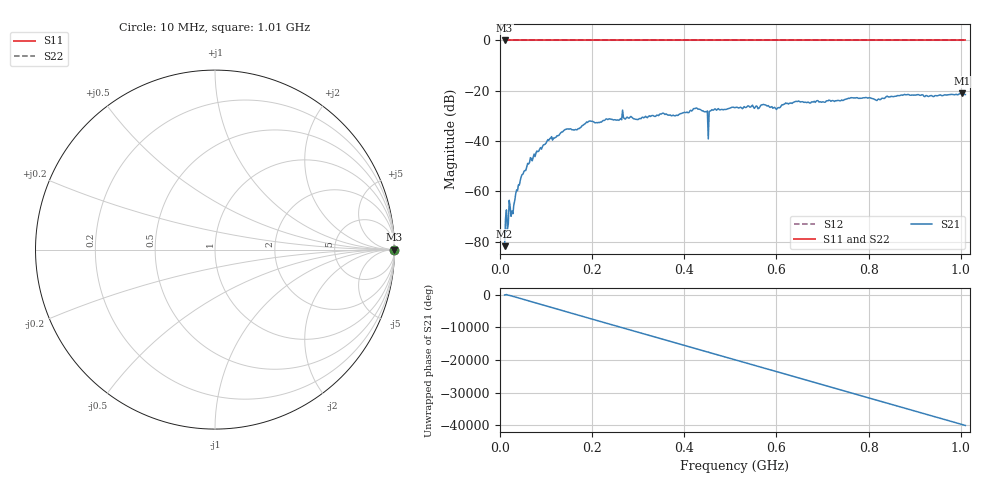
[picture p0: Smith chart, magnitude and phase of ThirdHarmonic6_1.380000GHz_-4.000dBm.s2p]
! 8/16/2025 3:40:23 PM
! C:\ANRITSUVNA\TEMP\TEMP.S2P
! CHANNEL.1
! TR.MEASUREMENT
! RAW.DATA
! RF.CORRECTION.OFF
! AVERAGING.OFF
! IF.BANDWIDTH: 5KHZ
! SWEEPTYPE:  FREQ.SWEEP(Linear)
! Reference Plane Port Info
! PORT:  PORT1  PORT2
! DISTANCE:  0  m  0  m
! TIME:  0  s  0  s
! PHASE.OFFSET:  0  deg.  0  deg.
! LOSS:  0  dB  0  dB
! REF.LOSS:  0  dB  0  dB
! REF.FREQ:  0  Hz  0  Hz
! Power Info
! POWER:  -20  dBm  -20  dBm
! EFF.POWER:  -20  dBm  -20  dBm
! SOURCE.ATTEN:  0  dB  0  dB
! TEST.ATTEN:  0  dB  0  dB
# GHZ S RI R 50.0
! FREQ.GHZ  S11RE  S11IM  S21RE  S21IM  S12RE  S12IM  S22RE  S22IM
!; PortSelection: Port_12
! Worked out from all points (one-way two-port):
!   501 points, 10 MHz to 1.01 GHz, reference 50 ohm
!   highest |S21| = -21.00 dB at 1.002 GHz (marker M1); lowest = -81.8 dB at 10 MHz (marker M2)
!   lowest |S11| = 0.0 dB at 10 MHz (marker M3)
!   |S11| at or under -10 dB: nowhere
!   |S22| runs from 0.0 to 0.0 dB; largest |S21 - S12| = 1.1
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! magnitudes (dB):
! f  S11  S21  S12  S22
! 10 MHz  0.0  -81.8  0.0  0.0
! 14 MHz  0.0  -67.4  0.0  0.0
! 16 MHz  0.0  -75.2  0.0  0.0
! 28 MHz  0.0  -68.9  0.0  0.0
! 44 MHz  0.0  -55.7  0.0  0.0
! 64 MHz  0.0  -48.6  0.0  0.0
! 108 MHz  0.0  -39.1  0.0  0.0
! 178 MHz  0.0  -33.9  0.0  0.0
! 196 MHz  0.0  -32.1  0.0  0.0
! 344 MHz  0.0  -29.9  0.0  0.0
! 382 MHz  0.0  -29.8  0.0  0.0
! 424 MHz  0.0  -27.1  0.0  0.0
! 446 MHz  0.0  -28.3  0.0  0.0
! 448 MHz  0.0  -28.3  0.0  0.0
! 462 MHz  0.0  -27.7  0.0  0.0
! 510 MHz  0.0  -26.7  0.0  0.0
! 602 MHz  0.0  -27.0  0.0  0.0
! 644 MHz  0.0  -24.2  0.0  0.0
! 678 MHz  0.0  -24.4  0.0  0.0
! 844 MHz  0.0  -22.5  0.0  0.0
! 1.002 GHz  0.0  -21.0  0.0  0.0
! 1.01 GHz  0.0  -21.5  0.0  0.0
